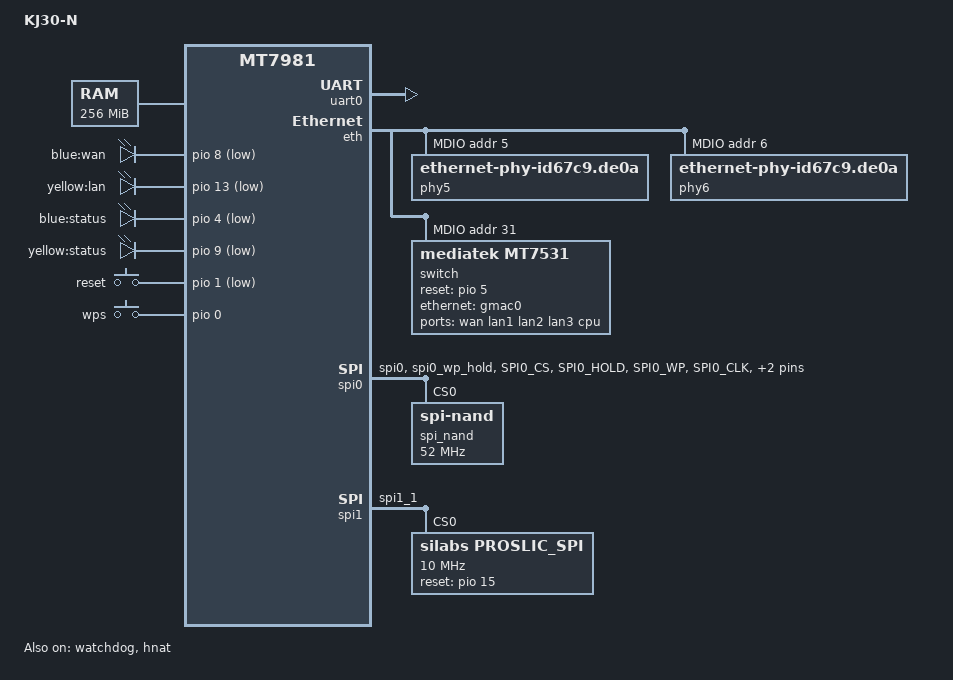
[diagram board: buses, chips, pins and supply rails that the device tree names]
/dts-v1/;
#include <dt-bindings/gpio/gpio.h>
#include <dt-bindings/input/input.h>
#include "mt7981.dtsi"

/ {
        model = "KJ30-N";
        compatible = "kjd,kj30-n", "mediatek,mt7981";

	aliases {
		led-boot = &status_yellow_led;
		led-failsafe = &status_yellow_led;
		led-running = &status_blue_led;
		led-upgrade = &status_blue_led;
	};

	chosen {
		bootargs = "console=ttyS0,115200n1 loglevel=8 earlycon=uart8250,mmio32,0x11002000";
	};

	memory {
		reg = <0 0x40000000 0 0x10000000>;
	};

        leds {
                compatible = "gpio-leds";

                wan_blue_led: led-0 {
                        label = "blue:wan";
                        gpios = <&pio 8 GPIO_ACTIVE_LOW>;
                };

                lan_yellow_led: led-1 {
                        label = "yellow:lan";
                        gpios = <&pio 13 GPIO_ACTIVE_LOW>;
                };

                status_blue_led: led-2 {
                        label = "blue:status";
                        gpios = <&pio 4 GPIO_ACTIVE_LOW>;
                };
                
                status_yellow_led: led-3 {
                        label = "yellow:status";
                        gpios = <&pio 9 GPIO_ACTIVE_LOW>;
                };

        };

        gpio-keys {
                compatible = "gpio-keys";
                        button-reset {
                                label = "reset";
                                linux,code = <KEY_RESTART>;
                                gpios = <&pio 1 GPIO_ACTIVE_LOW>;
                        };

                        button-wps {
                                label = "wps";
                                linux,code = <BTN_9>;
                                gpios = <&pio 0 GPIO_ACTIVE_HIGH>;				
                        };
        };

	nmbm_spim_nand {
                compatible = "generic,nmbm";
                #address-cells = <1>;
                #size-cells = <1>;

                lower-mtd-device = <&spi_nand>;
                forced-create;

                partitions {
                        compatible = "fixed-partitions";
                        #address-cells = <1>;
                        #size-cells = <1>;

                        partition@0 {
                                label = "BL2";
                                reg = <0x00 0x100000>;
                        };

                        partition@100000 {
                                label = "u-boot-env";
                                reg = <0x100000 0x80000>;
                        };

                        partition@180000 {
                                label = "Factory";
                                reg = <0x180000 0x200000>;
                        };

                        partition@380000 {
                                label = "FIP";
                                reg = <0x380000 0x200000>;
                        };

			partition@580000 {
				label = "ubi";
				reg = <0x580000 0x7200000>;
			};
                };
        };
};

&uart0 {
	status = "okay";
};

&watchdog {
	status = "okay";
};

&eth {
	status = "okay";

	gmac0: mac@0 {
		compatible = "mediatek,eth-mac";
		reg = <0>;
		phy-mode = "2500base-x";

		fixed-link {
			speed = <2500>;
			full-duplex;
			pause;
		};
	};


	mdio: mdio-bus {
		#address-cells = <1>;
		#size-cells = <0>;

		phy5: phy@5 {
			compatible = "ethernet-phy-id67c9.de0a";
			reg = <5>;
			phy-mode = "2500base-x";
		}; 
		phy6: phy@6 {
			compatible = "ethernet-phy-id67c9.de0a";
			reg = <6>;
			phy-mode = "2500base-x";
		};

		switch@0 {
			compatible = "mediatek,mt7531";
			reg = <31>;
			reset-gpios = <&pio 5 0>;

			ports {
				#address-cells = <1>;
				#size-cells = <0>;

				port@0 {
					reg = <0>;
					label = "wan";
				};

				port@1 {
					reg = <2>;
					label = "lan1";
				};

				port@2 {
					reg = <3>;
					label = "lan2";
				};

				port@3 {
					reg = <4>;
					label = "lan3";
				};
				
				port@6 {
					reg = <6>;
					label = "cpu";
					ethernet = <&gmac0>;
					phy-mode = "2500base-x";

					fixed-link {
						speed = <2500>;
						full-duplex;
						pause;
					};
				};
			};
		};
	};
};

&hnat {
	mtketh-wan = "eth1";
	mtketh-lan = "lan";
	mtketh-max-gmac = <2>;
	status = "okay";
};

&spi0 {
	pinctrl-names = "default";
	pinctrl-0 = <&spi0_flash_pins>;
	status = "okay";

	spi_nand: spi_nand@0 {
		#address-cells = <1>;
		#size-cells = <1>;
		compatible = "spi-nand";
		reg = <0>;
		spi-max-frequency = <52000000>;
		spi-tx-bus-width = <4>;
		spi-rx-bus-width = <4>;
	};
};

&spi1 {
	pinctrl-names = "default";
	pinctrl-0 = <&spic_pins>;
	status = "okay";

	proslic_spi: proslic_spi@0 {
		compatible = "silabs,proslic_spi";
		reg = <0>;
		spi-max-frequency = <10000000>;
		spi-cpha = <1>;
		spi-cpol = <1>;
		channel_count = <1>;
		debug_level = <4>;       /* 1 = TRC, 2 = DBG, 4 = ERR */
		reset_gpio = <&pio 15 0>;
		ig,enable-spi = <1>;     /* 1: Enable, 0: Disable */
	};
};

&pio {
	i2c_pins: i2c-pins-g0 {
                mux {
                        function = "i2c";
                        groups = "i2c0_0";
                };
        };

        pcm_pins: pcm-pins-g0 {
                mux {
                        function = "pcm";
                        groups = "pcm";
                };
        };

	pwm0_pin: pwm0-pin-g0 {
		mux {
			function = "pwm";
			groups = "pwm0_0";
		};
	};

	pwm1_pin: pwm1-pin-g0 {
		mux {
			function = "pwm";
			groups = "pwm1_0";
		};
	};

	pwm2_pin: pwm2-pin {
		mux {
			function = "pwm";
			groups = "pwm2";
		};
	};

	spi0_flash_pins: spi0-pins {
		mux {
			function = "spi";
			groups = "spi0", "spi0_wp_hold";
		};

		conf-pu {
			pins = "SPI0_CS", "SPI0_HOLD", "SPI0_WP";
			drive-strength = <MTK_DRIVE_8mA>;
			bias-pull-up = <MTK_PUPD_SET_R1R0_11>;
		};

		conf-pd {
			pins = "SPI0_CLK", "SPI0_MOSI", "SPI0_MISO";
			drive-strength = <MTK_DRIVE_8mA>;
			bias-pull-down = <MTK_PUPD_SET_R1R0_11>;
		};
	};

	spic_pins: spi1-pins {
		mux {
			function = "spi";
			groups = "spi1_1";
		};
	};

	uart1_pins: uart1-pins-g1 {
		mux {
			function = "uart";
			groups = "uart1_1";
		};
	};

	uart2_pins: uart2-pins-g1 {
		mux {
			function = "uart";
			groups = "uart2_1";
		};
	};
};
